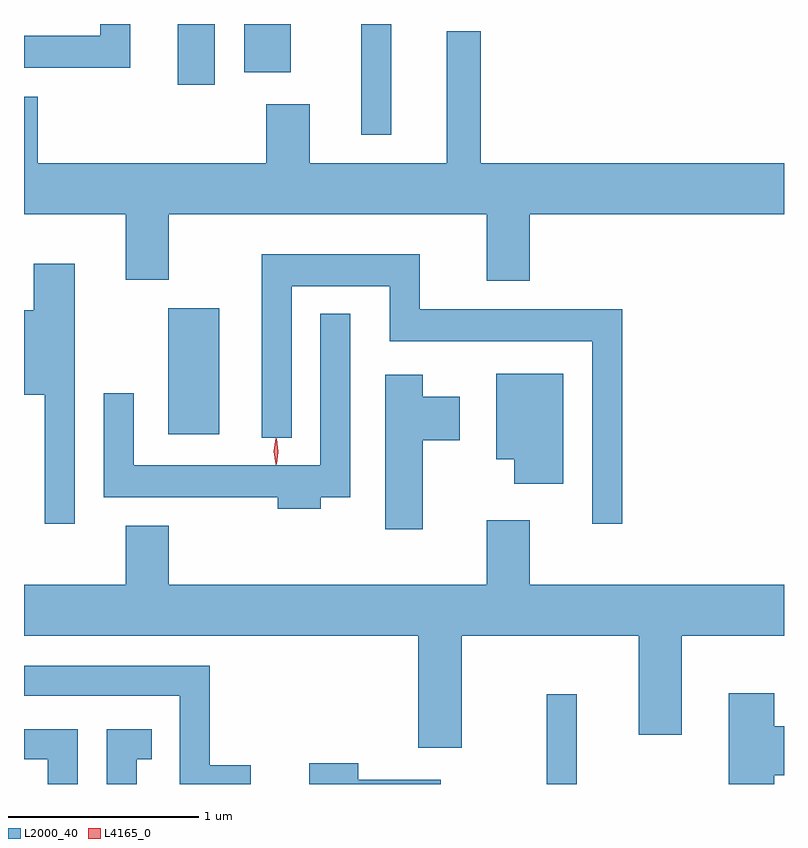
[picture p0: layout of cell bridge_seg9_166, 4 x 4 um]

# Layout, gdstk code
import gdstk
lib = gdstk.Library(unit=1e-6, precision=1e-09)
def R(c, l, rs):  # rectangles x0, y0, x1, y1
    for r in rs: c.add(gdstk.rectangle(r[:2], r[2:], *l))
def P(c, l, *ps):  # polygons
    for p in ps: c.add(gdstk.Polygon(p, *l))
L2000_40 = (2000, 40)
L4165_0 = (4165, 0)

bridge_seg9_166 = lib.new_cell('bridge_seg9_166')
R(bridge_seg9_166, L2000_40, [(1410.136,2066.516,1410.294,2066.988), (1408.146,2068.356,1408.414,2069.019), (1409.161,2069.933,1409.319,2070.516), (1408.196,2070.196,1408.389,2070.516), (1408.546,2070.261,1408.789,2070.516)])
P(bridge_seg9_166, L2000_40, [(1407.944,2070.516),(1407.786,2070.516),(1407.786,2070.454),(1407.386,2070.454),(1407.386,2070.286),(1407.944,2070.286)],
  [(1407.386,2070.134),(1407.386,2069.516),(1407.921,2069.516),(1407.921,2069.171),(1408.149,2069.171),(1408.149,2069.516),(1409.821,2069.516),(1409.821,2069.166),(1410.049,2069.166),(1410.049,2069.516),(1411.386,2069.516),(1411.386,2069.784),(1409.789,2069.784),(1409.789,2070.479),(1409.611,2070.479),(1409.611,2069.784),(1408.889,2069.784),(1408.889,2070.094),(1408.661,2070.094),(1408.661,2069.784),(1407.459,2069.784),(1407.459,2070.134)],
  [(1410.534,2069.014),(1409.469,2069.014),(1409.469,2069.304),(1408.636,2069.304),(1408.636,2068.338),(1408.794,2068.338),(1408.794,2069.136),(1409.311,2069.136),(1409.311,2068.846),(1410.376,2068.846),(1410.376,2067.887),(1410.534,2067.887)],
  [(1407.654,2069.254),(1407.436,2069.254),(1407.436,2069.009),(1407.386,2069.009),(1407.386,2068.566),(1407.496,2068.566),(1407.496,2067.887),(1407.654,2067.887)],
  [(1408.949,2068.026),(1409.104,2068.026),(1409.104,2068.992),(1408.946,2068.992),(1408.946,2068.194),(1407.964,2068.194),(1407.964,2068.573),(1407.806,2068.573),(1407.806,2068.026),(1408.721,2068.026),(1408.721,2067.966),(1408.949,2067.966)],
  [(1410.224,2068.674),(1409.871,2068.674),(1409.871,2068.226),(1409.966,2068.226),(1409.966,2068.096),(1410.224,2068.096)],
  [(1409.484,2068.326),(1409.679,2068.326),(1409.679,2068.554),(1409.484,2068.554),(1409.484,2068.669),(1409.286,2068.669),(1409.286,2067.856),(1409.484,2067.856)],
  [(1409.689,2067.296),(1410.621,2067.296),(1410.621,2066.776),(1410.849,2066.776),(1410.849,2067.296),(1411.386,2067.296),(1411.386,2067.564),(1410.049,2067.564),(1410.049,2067.904),(1409.821,2067.904),(1409.821,2067.564),(1408.149,2067.564),(1408.149,2067.874),(1407.921,2067.874),(1407.921,2067.564),(1407.386,2067.564),(1407.386,2067.296),(1409.461,2067.296),(1409.461,2066.706),(1409.689,2066.706)],
  [(1408.579,2066.614),(1408.364,2066.614),(1408.364,2067.139),(1407.386,2067.139),(1407.386,2066.981),(1408.206,2066.981),(1408.206,2066.516),(1408.579,2066.516)],
  [(1411.334,2066.561),(1411.386,2066.561),(1411.386,2066.819),(1411.334,2066.819),(1411.334,2066.994),(1411.096,2066.994),(1411.096,2066.516),(1411.334,2066.516)],
  [(1407.669,2066.804),(1407.386,2066.804),(1407.386,2066.646),(1407.511,2066.646),(1407.511,2066.516),(1407.669,2066.516)],
  [(1407.979,2066.646),(1408.058,2066.646),(1408.058,2066.804),(1407.821,2066.804),(1407.821,2066.516),(1407.979,2066.516)],
  [(1409.579,2066.539),(1409.144,2066.539),(1409.144,2066.624),(1408.886,2066.624),(1408.886,2066.516),(1409.579,2066.516)])
P(bridge_seg9_166, L4165_0, [(1408.711,2068.197),(1408.71,2068.198),(1408.701,2068.267),(1408.71,2068.336),(1408.711,2068.336),(1408.712,2068.336),(1408.721,2068.267),(1408.712,2068.198)],
  [(1408.715,2068.199),(1408.714,2068.2),(1408.705,2068.266),(1408.714,2068.332),(1408.715,2068.333),(1408.715,2068.332),(1408.725,2068.266),(1408.715,2068.2)])

lib.write_gds('bridge_seg9_166.gds')
